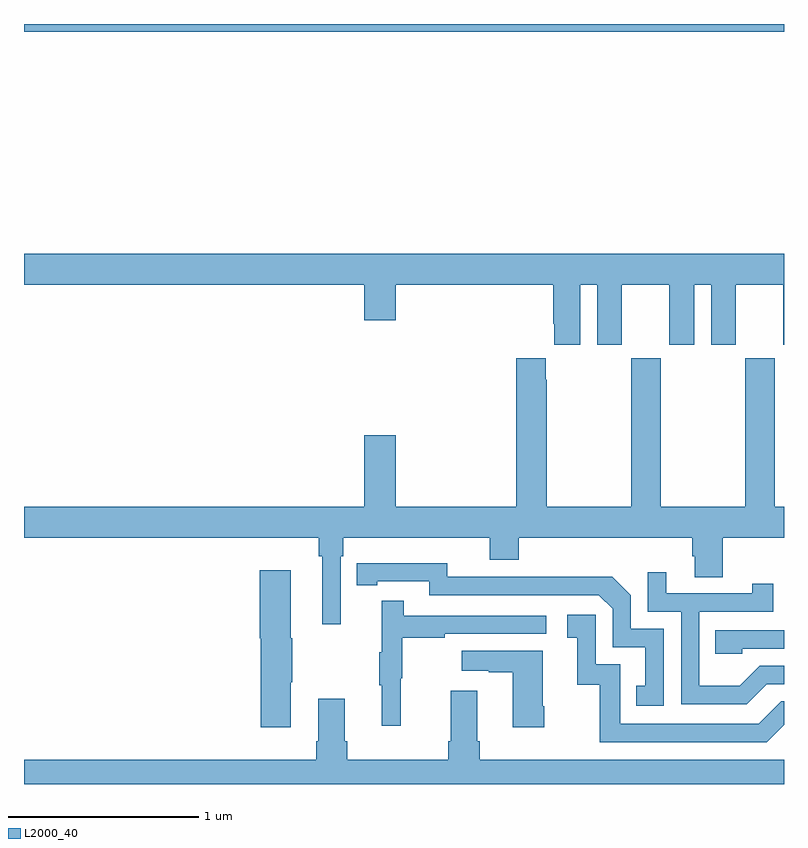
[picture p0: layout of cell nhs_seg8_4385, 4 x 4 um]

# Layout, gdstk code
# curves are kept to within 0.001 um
import gdstk
lib = gdstk.Library(unit=1e-6, precision=1e-09)
def R(c, l, rs):  # rectangles x0, y0, x1, y1
    for r in rs: c.add(gdstk.rectangle(r[:2], r[2:], *l))
def P(c, l, *ps):  # polygons
    for p in ps: c.add(gdstk.Polygon(p, *l))
L2000_40 = (2000, 40)

nhs_seg8_4385 = lib.new_cell('nhs_seg8_4385')
R(nhs_seg8_4385, L2000_40, [(379,1089.86,383,1089.9)])
P(nhs_seg8_4385, L2000_40, [(379,1088.528),(380.792,1088.528),(380.792,1088.34),(380.956,1088.34),(380.956,1088.528),(381.785,1088.528),(381.785,1088.323),(381.791,1088.323),(381.791,1088.211),(381.928,1088.211),(381.928,1088.528),(382.016,1088.528),(382.016,1088.211),(382.147,1088.211),(382.147,1088.528),(382.397,1088.528),(382.397,1088.211),(382.528,1088.211),(382.528,1088.528),(382.616,1088.528),(382.616,1088.211),(382.747,1088.211),(382.747,1088.528),(382.997,1088.528),(382.997,1088.211),(383,1088.211),(383,1088.692),(379,1088.692)],
  [(379,1087.196),(380.551,1087.196),(380.551,1087.1),(380.57,1087.1),(380.57,1086.741),(380.667,1086.741),(380.667,1087.1),(380.681,1087.1),(380.681,1087.196),(381.452,1087.196),(381.452,1087.079),(381.605,1087.079),(381.605,1087.196),(382.517,1087.196),(382.517,1087.098),(382.529,1087.098),(382.529,1086.988),(382.677,1086.988),(382.677,1087.196),(383,1087.196),(383,1087.36),(382.95,1087.36),(382.95,1088.14),(382.795,1088.14),(382.795,1087.36),(382.35,1087.36),(382.35,1088.14),(382.195,1088.14),(382.195,1087.36),(381.75,1087.36),(381.75,1088.027),(381.745,1088.027),(381.745,1088.14),(381.59,1088.14),(381.59,1087.36),(380.956,1087.36),(380.956,1087.735),(380.792,1087.735),(380.792,1087.36),(379,1087.36)],
  [(382.368,1086.717),(382.194,1086.717),(382.194,1086.894),(382.096,1086.992),(381.688,1086.992),(381.688,1086.99),(381.228,1086.99),(381.228,1087.063),(380.752,1087.062),(380.752,1086.946),(380.86,1086.946),(380.86,1086.966),(381.132,1086.966),(381.132,1086.894),(382.026,1086.894),(382.098,1086.822),(382.098,1086.621),(382.271,1086.621),(382.271,1086.417),(382.222,1086.417),(382.222,1086.312),(382.368,1086.312)],
  [(380.404,1086.436),(380.412,1086.436),(380.412,1086.666),(380.404,1086.666),(380.404,1087.024),(380.24,1087.024),(380.24,1086.666),(380.246,1086.666),(380.246,1086.198),(380.404,1086.198)],
  [(382.909,1086.426),(383,1086.426),(383,1086.522),(382.872,1086.522),(382.768,1086.418),(382.554,1086.418),(382.554,1086.807),(382.943,1086.807),(382.943,1086.955),(382.832,1086.955),(382.832,1086.903),(382.381,1086.903),(382.381,1087.015),(382.284,1087.015),(382.284,1086.807),(382.458,1086.807),(382.458,1086.321),(382.804,1086.321)],
  [(380.984,1086.456),(380.992,1086.456),(380.992,1086.67),(381.215,1086.67),(381.215,1086.69),(381.748,1086.69),(381.748,1086.786),(380.999,1086.786),(380.999,1086.865),(380.882,1086.865),(380.882,1086.593),(380.871,1086.593),(380.871,1086.419),(380.882,1086.419),(380.882,1086.207),(380.984,1086.207)],
  [(383,1086.212),(383,1086.336),(382.986,1086.336),(382.866,1086.216),(382.137,1086.216),(382.137,1086.531),(382.008,1086.531),(382.008,1086.79),(381.858,1086.79),(381.858,1086.669),(381.911,1086.669),(381.911,1086.423),(382.029,1086.423),(382.029,1086.12),(382.908,1086.12)],
  [(382.779,1086.612),(383,1086.612),(383,1086.708),(382.639,1086.708),(382.639,1086.585),(382.779,1086.585)],
  [(381.738,1086.31),(381.73,1086.31),(381.73,1086.601),(381.303,1086.601),(381.303,1086.497),(381.446,1086.497),(381.446,1086.487),(381.572,1086.487),(381.572,1086.198),(381.738,1086.198)],
  [(383,1086.028),(381.398,1086.028),(381.398,1086.124),(381.385,1086.124),(381.385,1086.391),(381.245,1086.391),(381.245,1086.124),(381.233,1086.124),(381.233,1086.028),(380.702,1086.028),(380.702,1086.124),(380.689,1086.124),(380.689,1086.349),(380.549,1086.349),(380.549,1086.124),(380.537,1086.124),(380.537,1086.028),(379,1086.028),(379,1085.9),(383,1085.9)])

lib.write_gds('nhs_seg8_4385.gds')
